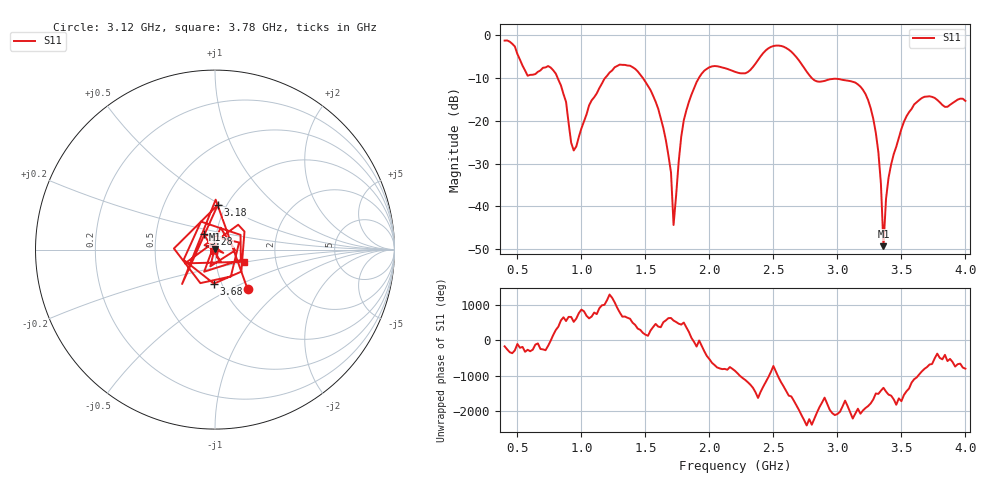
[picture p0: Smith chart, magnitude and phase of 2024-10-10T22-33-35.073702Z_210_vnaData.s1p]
! Created with skrf (http://scikit-rf.org).
# Hz S RI R 50.0
!freq ReS11 ImS11
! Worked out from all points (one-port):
!   181 points, 400 MHz to 4 GHz, reference 50 ohm
!   lowest |S11| = -49.3 dB at 3.36 GHz (marker M1), VSWR 1.01, Z = 50 + j0.341 ohm
!   |S11| at or under -10 dB: 813.8 MHz to 1.186 GHz (372.5 MHz wide, 37.3 % of centre); 1.479 GHz to 1.918 GHz (439.1 MHz wide, 25.9 % of centre); 2.798 GHz to end of sweep
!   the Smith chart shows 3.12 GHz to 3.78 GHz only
!   S11 on the Smith chart (normalised r, x): 3.12 GHz: 1.28, -0.61; 3.18 GHz: 0.91, +0.48; 3.28 GHz: 0.87, +0.15; 3.68 GHz: 0.92, -0.36; 3.78 GHz: 1.37, -0.19
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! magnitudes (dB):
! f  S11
! 400 MHz  -1.3
! 580 MHz  -9.5
! 760 MHz  -7.6
! 860 MHz  -13.8
! 940 MHz  -27.0
! 1.08 GHz  -15.3
! 1.3 GHz  -6.9
! 1.6 GHz  -17.2
! 1.7 GHz  -32.1
! 1.72 GHz  -44.4
! 1.76 GHz  -29.6
! 1.8 GHz  -19.9
! 1.92 GHz  -9.9
! 2.2 GHz  -8.6
! 2.5 GHz  -2.6
! 2.66 GHz  -4.5
! 2.82 GHz  -10.6
! 3.1 GHz  -10.8
! 3.12 GHz  -10.9
! 3.18 GHz  -12.1
! 3.28 GHz  -19.5
! 3.34 GHz  -34.7
! 3.36 GHz  -49.3
! 3.4 GHz  -33.3
! 3.56 GHz  -18.0
! 3.68 GHz  -14.4
! 3.78 GHz  -15.2
! 4 GHz  -15.4
